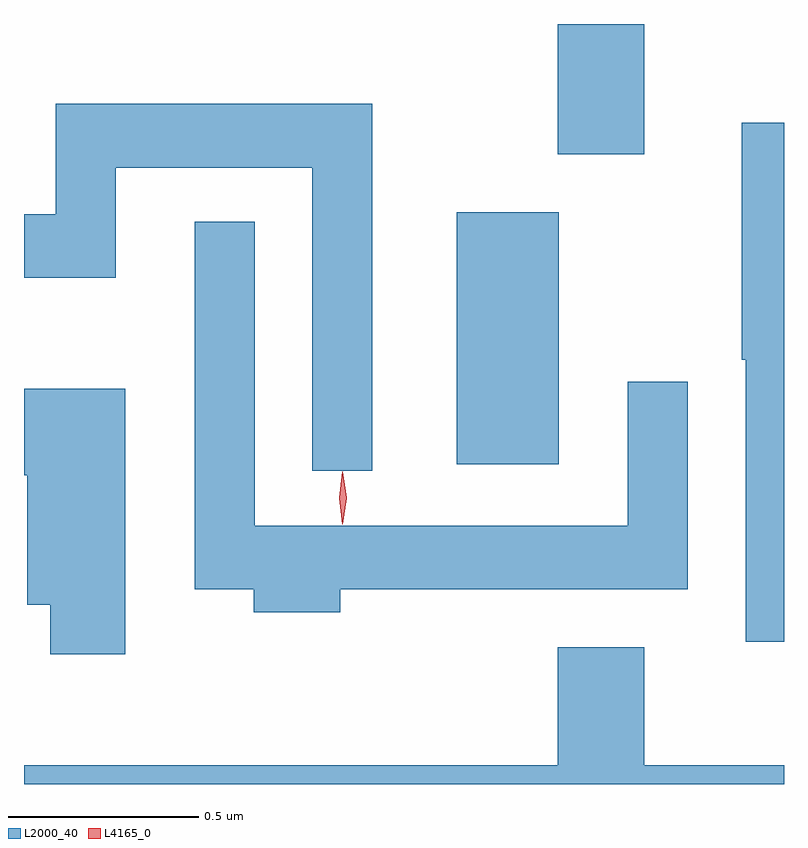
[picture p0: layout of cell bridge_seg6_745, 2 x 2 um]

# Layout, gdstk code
import gdstk
lib = gdstk.Library(unit=1e-6, precision=1e-09)
def R(c, l, rs):  # rectangles x0, y0, x1, y1
    for r in rs: c.add(gdstk.rectangle(r[:2], r[2:], *l))
def P(c, l, *ps):  # polygons
    for p in ps: c.add(gdstk.Polygon(p, *l))
L2000_40 = (2000, 40)
L4165_0 = (4165, 0)

bridge_seg6_745 = lib.new_cell('bridge_seg6_745')
R(bridge_seg6_745, L2000_40, [(311.826,1566.636,312.094,1567.299), (312.091,1567.451,312.319,1567.794)])
P(bridge_seg6_745, L2000_40, [(311.604,1567.584),(310.771,1567.584),(310.771,1567.294),(310.687,1567.294),(310.687,1567.126),(310.929,1567.126),(310.929,1567.416),(311.446,1567.416),(311.446,1566.618),(311.604,1566.618)],
  [(312.687,1567.534),(312.576,1567.534),(312.576,1566.91),(312.586,1566.91),(312.586,1566.168),(312.687,1566.168)],
  [(311.519,1566.306),(312.434,1566.306),(312.434,1566.853),(312.276,1566.853),(312.276,1566.474),(311.294,1566.474),(311.294,1567.273),(311.136,1567.273),(311.136,1566.306),(311.291,1566.306),(311.291,1566.246),(311.519,1566.246)],
  [(310.954,1566.834),(310.687,1566.834),(310.687,1566.606),(310.696,1566.606),(310.696,1566.266),(310.756,1566.266),(310.756,1566.136),(310.954,1566.136)],
  [(312.687,1565.844),(312.319,1565.844),(312.319,1566.154),(312.091,1566.154),(312.091,1565.844),(310.687,1565.844),(310.687,1565.794),(312.687,1565.794)])
P(bridge_seg6_745, L4165_0, [(311.525,1566.48),(311.516,1566.546),(311.525,1566.612),(311.526,1566.613),(311.526,1566.612),(311.536,1566.546),(311.526,1566.48),(311.526,1566.48)],
  [(311.525,1566.477),(311.516,1566.547),(311.525,1566.616),(311.526,1566.616),(311.526,1566.616),(311.536,1566.547),(311.526,1566.477),(311.526,1566.477)])

lib.write_gds('bridge_seg6_745.gds')
